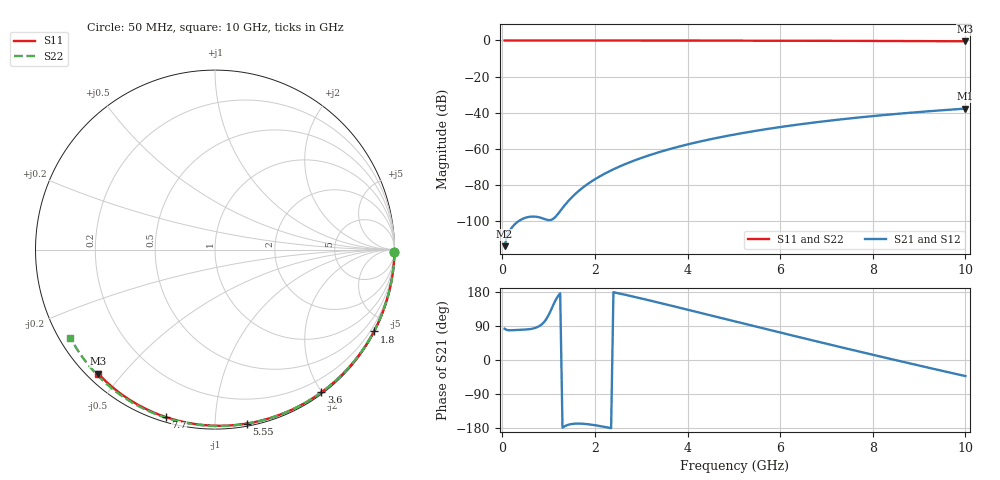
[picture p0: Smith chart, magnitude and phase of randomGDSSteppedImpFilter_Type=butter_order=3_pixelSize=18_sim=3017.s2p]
! freq	dB(S11)	phase(S11)	dB(S12)	phase(S12)
!  dB(S21)	phase(S21)	dB(S22)	phase(S22)
!S-par simulation data
#  GHz  S  DB  R 50
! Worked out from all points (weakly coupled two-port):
!   200 points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, 50 MHz to 10 GHz, reference 50 ohm
!   highest |S21| = -37.79 dB at 10 GHz (marker M1); lowest = -114.0 dB at 50 MHz (marker M2)
!   lowest |S11| = -0.5 dB at 10 GHz (marker M3), VSWR 38.48, Z = 1.54 - j21.6 ohm
!   |S11| at or under -10 dB: nowhere
!   |S22| runs from -0.5 to 0.0 dB; largest |S21 - S12| = 0
!   S11 on the Smith chart (normalised r, x): 50 MHz: open; 1.8 GHz: 0.04, -4.12; 3.6 GHz: 0.02, -1.99; 5.55 GHz: 0.02, -1.20; 7.7 GHz: 0.02, -0.75; 10 GHz: 0.03, -0.43
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0.05  -0.00 -0.8  -114.03 82.6  -114.03 82.6  -0.00 -0.9
0.45  -0.01 -6.9  -98.76 79.8  -98.76 79.8  -0.01 -7.8
0.9  -0.02 -13.8  -98.87 99.7  -98.87 99.7  -0.02 -15.4
1.3  -0.02 -19.8  -92.88 -178.6  -92.88 -178.6  -0.03 -22.2
1.75  -0.03 -26.5  -81.34 -168.4  -81.34 -168.4  -0.04 -29.7
1.8  -0.03 -27.3  -80.37 -168.9  -80.37 -168.9  -0.04 -30.5
1.85  -0.04 -28.0  -79.46 -169.5  -79.46 -169.5  -0.04 -31.4
2.05  -0.04 -31.0  -76.16 -173.0  -76.16 -173.0  -0.04 -34.7
2.2  -0.04 -33.2  -74.00 -176.3  -74.00 -176.3  -0.05 -37.2
2.5  -0.05 -37.6  -70.24 176.2  -70.24 176.2  -0.05 -42.1
2.9  -0.06 -43.3  -66.07 165.3  -66.07 165.3  -0.06 -48.5
3.4  -0.07 -50.5  -61.81 150.7  -61.81 150.7  -0.08 -56.4
3.6  -0.07 -53.3  -60.32 144.8  -60.32 144.8  -0.08 -59.6
4.3  -0.09 -63.0  -55.84 123.8  -55.84 123.8  -0.10 -70.3
5.05  -0.11 -73.1  -51.96 101.1  -51.96 101.1  -0.13 -81.4
5.55  -0.13 -79.6  -49.77 86.0  -49.77 86.0  -0.15 -88.7
6.1  -0.15 -86.7  -47.64 69.6  -47.64 69.6  -0.17 -96.4
6.7  -0.18 -94.2  -45.59 51.8  -45.59 51.8  -0.20 -104.8
7.7  -0.24 -106.3  -42.69 22.5  -42.69 22.5  -0.27 -118.3
8.35  -0.29 -114.1  -41.09 3.8  -41.09 3.8  -0.33 -126.9
9.2  -0.37 -124.0  -39.26 -20.2  -39.26 -20.2  -0.41 -138.1
10  -0.45 -133.3  -37.79 -42.5  -37.79 -42.5  -0.50 -148.6
